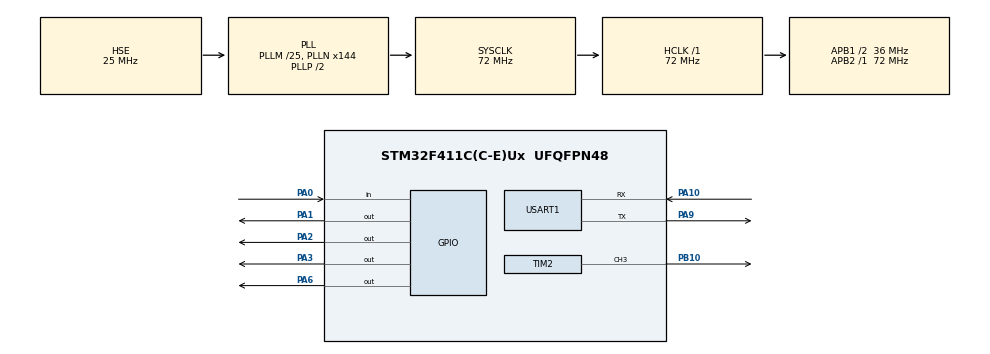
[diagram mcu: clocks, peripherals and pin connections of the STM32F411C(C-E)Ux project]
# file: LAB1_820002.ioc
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Mcu.Family=STM32F4
Mcu.Name=STM32F411C(C-E)Ux
Mcu.Package=UFQFPN48
NVIC.PriorityGroup=NVIC_PRIORITYGROUP_4
NVIC.USART1_IRQn=true\:0\:0\:false\:false\:true\:true\:true\:true
PA0-WKUP.GPIO_PuPd=GPIO_PULLUP
PA0-WKUP.Signal=GPIO_Input
PA1.GPIO_ModeDefaultOutputPP=GPIO_MODE_OUTPUT_PP
PA1.Signal=GPIO_Output
PA10.Mode=Asynchronous
PA10.Signal=USART1_RX
PA2.GPIO_ModeDefaultOutputPP=GPIO_MODE_OUTPUT_PP
PA2.Signal=GPIO_Output
PA3.GPIO_ModeDefaultOutputPP=GPIO_MODE_OUTPUT_PP
PA3.Signal=GPIO_Output
PA6.PinState=GPIO_PIN_RESET
PA6.Signal=GPIO_Output
PA9.Mode=Asynchronous
PA9.Signal=USART1_TX
PB10.Signal=S_TIM2_CH3
PH0\ -\ OSC_IN.Mode=HSE-External-Oscillator
PH0\ -\ OSC_IN.Signal=RCC_OSC_IN
PH1\ -\ OSC_OUT.Mode=HSE-External-Oscillator
PH1\ -\ OSC_OUT.Signal=RCC_OSC_OUT
ProjectManager.HeapSize=0x200
ProjectManager.StackSize=0x400
ProjectManager.TargetToolchain=STM32CubeIDE
RCC.48MHZClocksFreq_Value=36000000
RCC.AHBFreq_Value=72000000
RCC.APB1CLKDivider=RCC_HCLK_DIV2
RCC.APB1Freq_Value=36000000
RCC.APB1TimFreq_Value=72000000
RCC.APB2Freq_Value=72000000
RCC.APB2TimFreq_Value=72000000
RCC.CortexFreq_Value=72000000
RCC.HCLKFreq_Value=72000000
RCC.HSE_VALUE=25000000
RCC.HSI_VALUE=16000000
RCC.LSE_VALUE=32768
RCC.PLLM=25
RCC.PLLN=144
RCC.PLLSourceVirtual=RCC_PLLSOURCE_HSE
RCC.SYSCLKFreq_VALUE=72000000
RCC.SYSCLKSource=RCC_SYSCLKSOURCE_PLLCLK
RCC.VCOOutputFreq_Value=144000000
SH.S_TIM2_CH3.0=TIM2_CH3,PWM Generation3 CH3
TIM2.Channel-PWM\ Generation3\ CH3=TIM_CHANNEL_3
TIM2.Period=1
TIM2.Prescaler=1440-1
TIM2.Pulse-PWM\ Generation3\ CH3=1
USART1.VirtualMode=VM_ASYNC
board=custom

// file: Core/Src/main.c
/* USER CODE BEGIN Header */
/**
  ******************************************************************************
  * @file           : main.c
  * @brief          : Main program body
  ******************************************************************************
  * @attention
  *
  * Copyright (c) 2025 STMicroelectronics.
  * All rights reserved.
  *
  * This software is licensed under terms that can be found in the LICENSE file
  * in the root directory of this software component.
  * If no LICENSE file comes with this software, it is provided AS-IS.
  *
  ******************************************************************************
  */
/* USER CODE END Header */
#include "main.h"

/* USER CODE BEGIN Includes */
uint8_t lut[] = { 0b001, 0b010, 0b100, 0b000, 0b111 };  // Lookup Table (แก้ไขลำดับ)
uint8_t state = 0;  // เก็บค่าลำดับปัจจุบันของ lut
uint8_t max_state = sizeof(lut) / sizeof(lut[0]); // คำนวณจำนวน state ทั้งหม
uint32_t last_blink = 0;  // ใช้จับเวลา 1.2ms
/* USER CODE END Includes */

TIM_HandleTypeDef htim2;

UART_HandleTypeDef huart1;

void SystemClock_Config(void);

static void MX_GPIO_Init(void);
static void MX_TIM2_Init(void);
static void MX_USART1_UART_Init(void);
void Set_LED_Array(uint8_t state) {
    HAL_GPIO_WritePin(GPIOA, GPIO_PIN_1, GPIO_PIN_RESET); // ปิด PA1
    HAL_GPIO_WritePin(GPIOA, GPIO_PIN_2, GPIO_PIN_RESET); // ปิด PA2
    HAL_GPIO_WritePin(GPIOA, GPIO_PIN_3, GPIO_PIN_RESET); // ปิด PA3

    HAL_GPIO_WritePin(GPIOA, GPIO_PIN_1, (lut[state] & 0b001) ? GPIO_PIN_SET : GPIO_PIN_RESET);
    HAL_GPIO_WritePin(GPIOA, GPIO_PIN_2, (lut[state] & 0b010) ? GPIO_PIN_SET : GPIO_PIN_RESET);
    HAL_GPIO_WritePin(GPIOA, GPIO_PIN_3, (lut[state] & 0b100) ? GPIO_PIN_SET : GPIO_PIN_RESET);
}

int main(void)
{

  /* MCU Configuration--------------------------------------------------------*/

  /* Reset of all peripherals, Initializes the Flash interface and the Systick. */
                                                          HAL_Init();

  /* Configure the system clock */
  SystemClock_Config();

  /* Initialize all configured peripherals */
  MX_GPIO_Init();
  MX_TIM2_Init();
  MX_USART1_UART_Init();
  /* USER CODE BEGIN 2 */
HAL_TIM_PWM_Start(&htim2, TIM_CHANNEL_3); // Start Timer2 PWM (PB10 output)

// Variables for PA0 + LUT logic

  /* USER CODE END 2 */

  /* Infinite loop */
  /* USER CODE BEGIN WHILE */
while (1)
{
  // ---- 1. LED Blinking at PA6 every ~1.2ms ----
  if (HAL_GetTick() - last_blink >= 1)
  {
    HAL_GPIO_TogglePin(GPIOA, GPIO_PIN_6);
    last_blink = HAL_GetTick();
  }

  // ---- 2. LUT control on PA0 button press ----
  if (HAL_GPIO_ReadPin(GPIOA, GPIO_PIN_0) == GPIO_PIN_RESET)
  {
    // Clear LEDs PA1-PA3
    HAL_GPIO_WritePin(GPIOA, GPIO_PIN_1, GPIO_PIN_RESET);
    HAL_GPIO_WritePin(GPIOA, GPIO_PIN_2, GPIO_PIN_RESET);
    HAL_GPIO_WritePin(GPIOA, GPIO_PIN_3, GPIO_PIN_RESET);

    // Apply LUT state
    if (lut[state] & 0b001) HAL_GPIO_WritePin(GPIOA, GPIO_PIN_1, GPIO_PIN_SET);
    if (lut[state] & 0b010) HAL_GPIO_WritePin(GPIOA, GPIO_PIN_2, GPIO_PIN_SET);
    if (lut[state] & 0b100) HAL_GPIO_WritePin(GPIOA, GPIO_PIN_3, GPIO_PIN_SET);

    state = (state + 1) % max_state;
    HAL_Delay(300); // debounce
  }
}
    /* USER CODE END WHILE */

  }

void SystemClock_Config(void)
{
  RCC_OscInitTypeDef RCC_OscInitStruct = {0};
  RCC_ClkInitTypeDef RCC_ClkInitStruct = {0};

  /** Configure the main internal regulator output voltage
  */
  __HAL_RCC_PWR_CLK_ENABLE();
  __HAL_PWR_VOLTAGESCALING_CONFIG(PWR_REGULATOR_VOLTAGE_SCALE1);

  /** Initializes the RCC Oscillators according to the specified parameters
  * in the RCC_OscInitTypeDef structure.
  */
  RCC_OscInitStruct.OscillatorType = RCC_OSCILLATORTYPE_HSE;
  RCC_OscInitStruct.HSEState = RCC_HSE_ON;
  RCC_OscInitStruct.PLL.PLLState = RCC_PLL_ON;
  RCC_OscInitStruct.PLL.PLLSource = RCC_PLLSOURCE_HSE;
  RCC_OscInitStruct.PLL.PLLM = 25;
  RCC_OscInitStruct.PLL.PLLN = 144;
  RCC_OscInitStruct.PLL.PLLP = RCC_PLLP_DIV2;
  RCC_OscInitStruct.PLL.PLLQ = 4;
  if (HAL_RCC_OscConfig(&RCC_OscInitStruct) != HAL_OK)
  {
    Error_Handler();
  }

  /** Initializes the CPU, AHB and APB buses clocks
  */
  RCC_ClkInitStruct.ClockType = RCC_CLOCKTYPE_HCLK|RCC_CLOCKTYPE_SYSCLK
                              |RCC_CLOCKTYPE_PCLK1|RCC_CLOCKTYPE_PCLK2;
  RCC_ClkInitStruct.SYSCLKSource = RCC_SYSCLKSOURCE_PLLCLK;
  RCC_ClkInitStruct.AHBCLKDivider = RCC_SYSCLK_DIV1;
  RCC_ClkInitStruct.APB1CLKDivider = RCC_HCLK_DIV2;
  RCC_ClkInitStruct.APB2CLKDivider = RCC_HCLK_DIV1;

  if (HAL_RCC_ClockConfig(&RCC_ClkInitStruct, FLASH_LATENCY_2) != HAL_OK)
  {
    Error_Handler();
  }
}

static void MX_TIM2_Init(void)
{

  TIM_MasterConfigTypeDef sMasterConfig = {0};
  TIM_OC_InitTypeDef sConfigOC = {0};

  htim2.Instance = TIM2;
  htim2.Init.Prescaler = 1440-1;
  htim2.Init.CounterMode = TIM_COUNTERMODE_UP;
  htim2.Init.Period = 1;
  htim2.Init.ClockDivision = TIM_CLOCKDIVISION_DIV1;
  htim2.Init.AutoReloadPreload = TIM_AUTORELOAD_PRELOAD_DISABLE;
  if (HAL_TIM_PWM_Init(&htim2) != HAL_OK)
  {
    Error_Handler();
  }
  sMasterConfig.MasterOutputTrigger = TIM_TRGO_RESET;
  sMasterConfig.MasterSlaveMode = TIM_MASTERSLAVEMODE_DISABLE;
  if (HAL_TIMEx_MasterConfigSynchronization(&htim2, &sMasterConfig) != HAL_OK)
  {
    Error_Handler();
  }
  sConfigOC.OCMode = TIM_OCMODE_PWM1;
  sConfigOC.Pulse = 1;
  sConfigOC.OCPolarity = TIM_OCPOLARITY_HIGH;
  sConfigOC.OCFastMode = TIM_OCFAST_DISABLE;
  if (HAL_TIM_PWM_ConfigChannel(&htim2, &sConfigOC, TIM_CHANNEL_3) != HAL_OK)
  {
    Error_Handler();
  }
  HAL_TIM_MspPostInit(&htim2);

}

static void MX_USART1_UART_Init(void)
{

  huart1.Instance = USART1;
  huart1.Init.BaudRate = 115200;
  huart1.Init.WordLength = UART_WORDLENGTH_8B;
  huart1.Init.StopBits = UART_STOPBITS_1;
  huart1.Init.Parity = UART_PARITY_NONE;
  huart1.Init.Mode = UART_MODE_TX_RX;
  huart1.Init.HwFlowCtl = UART_HWCONTROL_NONE;
  huart1.Init.OverSampling = UART_OVERSAMPLING_16;
  if (HAL_UART_Init(&huart1) != HAL_OK)
  {
    Error_Handler();
  }

}

static void MX_GPIO_Init(void)
{
  GPIO_InitTypeDef GPIO_InitStruct = {0};

  /* GPIO Ports Clock Enable */
  __HAL_RCC_GPIOH_CLK_ENABLE();
  __HAL_RCC_GPIOA_CLK_ENABLE();
  __HAL_RCC_GPIOB_CLK_ENABLE();

  /*Configure GPIO pin Output Level */
  HAL_GPIO_WritePin(GPIOA, GPIO_PIN_1|GPIO_PIN_2|GPIO_PIN_3|GPIO_PIN_6, GPIO_PIN_RESET);

  /*Configure GPIO pin : PA0 */
  GPIO_InitStruct.Pin = GPIO_PIN_0;
  GPIO_InitStruct.Mode = GPIO_MODE_INPUT;
  GPIO_InitStruct.Pull = GPIO_PULLUP;
  HAL_GPIO_Init(GPIOA, &GPIO_InitStruct);

  /*Configure GPIO pins : PA1 PA2 PA3 PA6 */
  GPIO_InitStruct.Pin = GPIO_PIN_1|GPIO_PIN_2|GPIO_PIN_3|GPIO_PIN_6;
  GPIO_InitStruct.Mode = GPIO_MODE_OUTPUT_PP;
  GPIO_InitStruct.Pull = GPIO_NOPULL;
  GPIO_InitStruct.Speed = GPIO_SPEED_FREQ_LOW;
  HAL_GPIO_Init(GPIOA, &GPIO_InitStruct);

}

void Error_Handler(void)
{
  __disable_irq();
  while (1)
  {
  }
}
